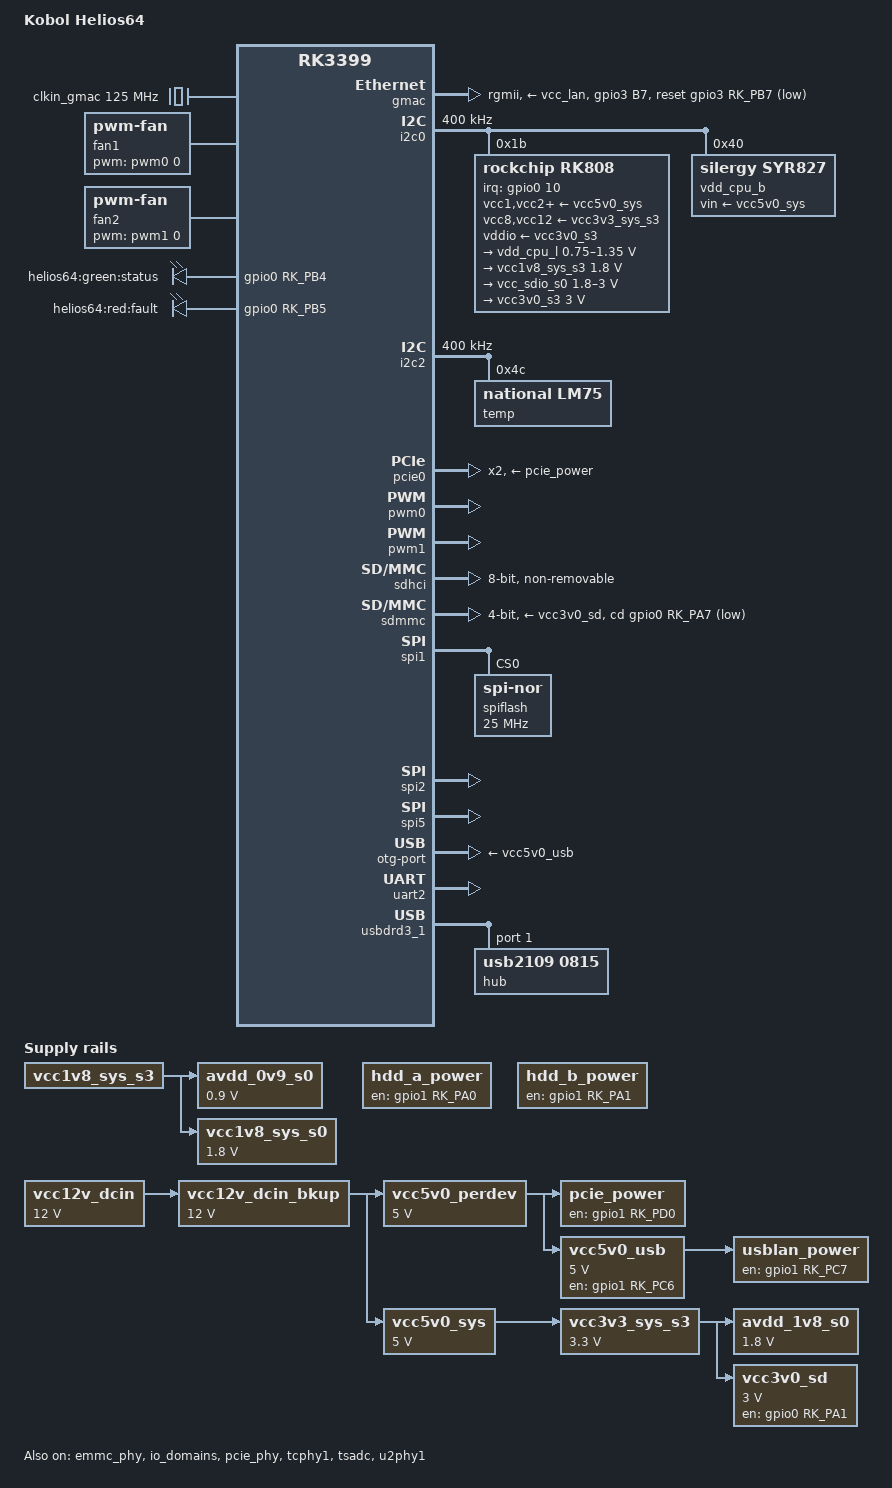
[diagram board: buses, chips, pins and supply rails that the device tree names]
// SPDX-License-Identifier: (GPL-2.0+ OR MIT)
/*
 * Copyright (c) 2020 Aditya Prayoga <aditya@kobol.io>
 */

/*
 * The Kobol Helios64 is a board designed to operate as a NAS and optionally
 * ships with an enclosing that can host five 2.5" hard disks.
 *
 * See https://wiki.kobol.io/helios64/intro/ for further details.
 */

/dts-v1/;
#include "rk3399.dtsi"
#include "rk3399-opp.dtsi"

/ {
	model = "Kobol Helios64";
	compatible = "kobol,helios64", "rockchip,rk3399";

	aliases {
		mmc0 = &sdmmc;
		mmc1 = &sdhci;
		spi1 = &spi1;
		spi2 = &spi2;
		spi5 = &spi5;
	};

	avdd_0v9_s0: avdd-0v9-s0 {
		compatible = "regulator-fixed";
		regulator-name = "avdd_0v9_s0";
		regulator-always-on;
		regulator-boot-on;
		regulator-min-microvolt = <900000>;
		regulator-max-microvolt = <900000>;
		vin-supply = <&vcc1v8_sys_s3>;
	};

	avdd_1v8_s0: avdd-1v8-s0 {
		compatible = "regulator-fixed";
		regulator-name = "avdd_1v8_s0";
		regulator-always-on;
		regulator-boot-on;
		regulator-min-microvolt = <1800000>;
		regulator-max-microvolt = <1800000>;
		vin-supply = <&vcc3v3_sys_s3>;
	};

	chosen {
		stdout-path = "serial2:1500000n8";
	};

	clkin_gmac: external-gmac-clock {
		compatible = "fixed-clock";
		clock-frequency = <125000000>;
		clock-output-names = "clkin_gmac";
		#clock-cells = <0>;
	};

	fan1 {
		/* fan connected to P7 */
		compatible = "pwm-fan";
		pwms = <&pwm0 0 40000 0>;
		cooling-levels = <0 80 170 255>;
	};

	fan2 {
		/* fan connected to P6 */
		compatible = "pwm-fan";
		pwms = <&pwm1 0 40000 0>;
		cooling-levels = <0 80 170 255>;
	};

	leds {
		compatible = "gpio-leds";
		pinctrl-names = "default";
		pinctrl-0 = <&sys_grn_led_on &sys_red_led_on>;

		led-0 {
			label = "helios64:green:status";
			gpios = <&gpio0 RK_PB4 GPIO_ACTIVE_HIGH>;
			default-state = "on";
		};

		led-1 {
			label = "helios64:red:fault";
			gpios = <&gpio0 RK_PB5 GPIO_ACTIVE_HIGH>;
			default-state = "keep";
		};
	};

	hdd_a_power: hdd-a-power {
		compatible = "regulator-fixed";
		enable-active-high;
		gpio = <&gpio1 RK_PA0 GPIO_ACTIVE_HIGH>;
		pinctrl-0 = <&hdd_a_power_en>;
		pinctrl-names = "default";
		regulator-always-on;
		regulator-boot-on;
		regulator-name = "hdd_a_power";
		startup-delay-us = <2000000>;
	};

	hdd_b_power: hdd-b-power {
		compatible = "regulator-fixed";
		enable-active-high;
		gpio = <&gpio1 RK_PA1 GPIO_ACTIVE_HIGH>;
		pinctrl-0 = <&hdd_b_power_en>;
		pinctrl-names = "default";
		regulator-always-on;
		regulator-boot-on;
		regulator-name = "hdd_b_power";
		startup-delay-us = <2000000>;
	};

	pcie_power: pcie-power {
		compatible = "regulator-fixed";
		enable-active-high;
		gpio = <&gpio1 RK_PD0 GPIO_ACTIVE_HIGH>;
		pinctrl-0 = <&pcie_pwr>;
		pinctrl-names = "default";
		regulator-boot-on;
		regulator-name = "pcie_power";
		startup-delay-us = <10000>;
		vin-supply = <&vcc5v0_perdev>;
	};

	usblan_power: usblan-power {
		compatible = "regulator-fixed";
		enable-active-high;
		gpio = <&gpio1 RK_PC7 GPIO_ACTIVE_HIGH>;
		pinctrl-names = "default";
		pinctrl-0 = <&usb_lan_en>;
		regulator-name = "usblan_power";
		regulator-always-on;
		regulator-boot-on;
		vin-supply = <&vcc5v0_usb>;
	};

	vcc1v8_sys_s0: vcc1v8-sys-s0 {
		compatible = "regulator-fixed";
		regulator-name = "vcc1v8_sys_s0";
		regulator-always-on;
		regulator-boot-on;
		regulator-min-microvolt = <1800000>;
		regulator-max-microvolt = <1800000>;
		vin-supply = <&vcc1v8_sys_s3>;
	};

	vcc3v0_sd: vcc3v0-sd {
		compatible = "regulator-fixed";
		enable-active-high;
		gpio = <&gpio0 RK_PA1 GPIO_ACTIVE_HIGH>;
		regulator-name = "vcc3v0_sd";
		regulator-boot-on;
		regulator-min-microvolt = <3000000>;
		regulator-max-microvolt = <3000000>;
		pinctrl-names = "default";
		pinctrl-0 = <&sdmmc0_pwr_h>;
		vin-supply = <&vcc3v3_sys_s3>;
	};

	vcc3v3_sys_s3: vcc_lan: vcc3v3-sys-s3 {
		compatible = "regulator-fixed";
		regulator-name = "vcc3v3_sys_s3";
		regulator-always-on;
		regulator-boot-on;
		regulator-min-microvolt = <3300000>;
		regulator-max-microvolt = <3300000>;
		vin-supply = <&vcc5v0_sys>;

		regulator-state-mem {
			regulator-on-in-suspend;
		};
	};

	vcc5v0_perdev: vcc5v0-perdev {
		compatible = "regulator-fixed";
		regulator-name = "vcc5v0_perdev";
		regulator-always-on;
		regulator-boot-on;
		regulator-min-microvolt = <5000000>;
		regulator-max-microvolt = <5000000>;
		vin-supply = <&vcc12v_dcin_bkup>;
	};

	vcc5v0_sys: vcc5v0-sys {
		compatible = "regulator-fixed";
		regulator-name = "vcc5v0_sys";
		regulator-always-on;
		regulator-boot-on;
		regulator-min-microvolt = <5000000>;
		regulator-max-microvolt = <5000000>;
		vin-supply = <&vcc12v_dcin_bkup>;

		regulator-state-mem {
			regulator-on-in-suspend;
		};
	};

	vcc5v0_usb: vcc5v0-usb {
		compatible = "regulator-fixed";
		enable-active-high;
		gpio = <&gpio1 RK_PC6 GPIO_ACTIVE_HIGH>;
		pinctrl-names = "default";
		pinctrl-0 = <&vcc5v0_usb_en>;
		regulator-name = "vcc5v0_usb";
		regulator-always-on;
		regulator-boot-on;
		regulator-min-microvolt = <5000000>;
		regulator-max-microvolt = <5000000>;
		vin-supply = <&vcc5v0_perdev>;
	};

	vcc12v_dcin: vcc12v-dcin {
		compatible = "regulator-fixed";
		regulator-name = "vcc12v_dcin";
		regulator-always-on;
		regulator-boot-on;
		regulator-min-microvolt = <12000000>;
		regulator-max-microvolt = <12000000>;
	};

	vcc12v_dcin_bkup: vcc12v-dcin-bkup {
		compatible = "regulator-fixed";
		regulator-name = "vcc12v_dcin_bkup";
		regulator-always-on;
		regulator-boot-on;
		regulator-min-microvolt = <12000000>;
		regulator-max-microvolt = <12000000>;
		vin-supply = <&vcc12v_dcin>;
	};
};

/*
 * The system doesn't run stable with cpu freq enabled, so disallow the lower
 * frequencies until this problem is properly understood and resolved.
 */
&cluster0_opp {
	/delete-node/ opp00;
	/delete-node/ opp01;
	/delete-node/ opp02;
	/delete-node/ opp03;
	/delete-node/ opp04;
};

&cluster1_opp {
	/delete-node/ opp00;
	/delete-node/ opp01;
	/delete-node/ opp02;
	/delete-node/ opp03;
	/delete-node/ opp04;
	/delete-node/ opp05;
	/delete-node/ opp06;
};

&cpu_b0 {
	cpu-supply = <&vdd_cpu_b>;
};

&cpu_b1 {
	cpu-supply = <&vdd_cpu_b>;
};

&cpu_l0 {
	cpu-supply = <&vdd_cpu_l>;
};

&cpu_l1 {
	cpu-supply = <&vdd_cpu_l>;
};

&cpu_l2 {
	cpu-supply = <&vdd_cpu_l>;
};

&cpu_l3 {
	cpu-supply = <&vdd_cpu_l>;
};

&emmc_phy {
	status = "okay";
};

&gmac {
	assigned-clock-parents = <&clkin_gmac>;
	assigned-clocks = <&cru SCLK_RMII_SRC>;
	clock_in_out = "input";
	phy-mode = "rgmii";
	phy-supply = <&vcc_lan>;
	pinctrl-names = "default";
	pinctrl-0 = <&rgmii_pins &gphy_reset>;
	rx_delay = <0x20>;
	tx_delay = <0x28>;
	snps,reset-active-low;
	snps,reset-delays-us = <0 10000 50000>;
	snps,reset-gpio = <&gpio3 RK_PB7 GPIO_ACTIVE_LOW>;
	status = "okay";
};

&i2c0 {
	clock-frequency = <400000>;
	i2c-scl-rising-time-ns = <168>;
	i2c-scl-falling-time-ns = <4>;
	status = "okay";

	rk808: pmic@1b {
		compatible = "rockchip,rk808";
		reg = <0x1b>;
		interrupt-parent = <&gpio0>;
		interrupts = <10 IRQ_TYPE_LEVEL_LOW>;
		clock-output-names = "xin32k", "rk808-clkout2";
		pinctrl-names = "default";
		pinctrl-0 = <&pmic_int_l>;
		rockchip,system-power-controller;
		vcc1-supply = <&vcc5v0_sys>;
		vcc2-supply = <&vcc5v0_sys>;
		vcc3-supply = <&vcc5v0_sys>;
		vcc4-supply = <&vcc5v0_sys>;
		vcc6-supply = <&vcc5v0_sys>;
		vcc7-supply = <&vcc5v0_sys>;
		vcc8-supply = <&vcc3v3_sys_s3>;
		vcc9-supply = <&vcc5v0_sys>;
		vcc10-supply = <&vcc5v0_sys>;
		vcc11-supply = <&vcc5v0_sys>;
		vcc12-supply = <&vcc3v3_sys_s3>;
		vddio-supply = <&vcc3v0_s3>;
		wakeup-source;
		#clock-cells = <1>;

		regulators {
			vdd_cpu_l: DCDC_REG2 {
				regulator-name = "vdd_cpu_l";
				regulator-always-on;
				regulator-boot-on;
				regulator-min-microvolt = <750000>;
				regulator-max-microvolt = <1350000>;
				regulator-ramp-delay = <6001>;

				regulator-state-mem {
					regulator-off-in-suspend;
				};
			};

			vcc1v8_sys_s3: DCDC_REG4 {
				regulator-name = "vcc1v8_sys_s3";
				regulator-always-on;
				regulator-boot-on;
				regulator-min-microvolt = <1800000>;
				regulator-max-microvolt = <1800000>;

				regulator-state-mem {
					regulator-on-in-suspend;
					regulator-suspend-microvolt = <1800000>;
				};
			};

			vcc_sdio_s0: LDO_REG4 {
				regulator-name = "vcc_sdio_s0";
				regulator-always-on;
				regulator-boot-on;
				regulator-min-microvolt = <1800000>;
				regulator-max-microvolt = <3000000>;

				regulator-state-mem {
					regulator-on-in-suspend;
					regulator-suspend-microvolt = <3000000>;
				};
			};

			vcc3v0_s3: LDO_REG8 {
				regulator-name = "vcc3v0_s3";
				regulator-always-on;
				regulator-boot-on;
				regulator-min-microvolt = <3000000>;
				regulator-max-microvolt = <3000000>;

				regulator-state-mem {
					regulator-on-in-suspend;
					regulator-suspend-microvolt = <3000000>;
				};
			};
		};
	};

	vdd_cpu_b: regulator@40 {
		compatible = "silergy,syr827";
		reg = <0x40>;
		fcs,suspend-voltage-selector = <1>;
		regulator-name = "vdd_cpu_b";
		regulator-always-on;
		regulator-boot-on;
		regulator-min-microvolt = <712500>;
		regulator-max-microvolt = <1500000>;
		regulator-ramp-delay = <1000>;
		vin-supply = <&vcc5v0_sys>;

		regulator-state-mem {
			regulator-off-in-suspend;
		};
	};
};

&i2c2 {
	clock-frequency = <400000>;
	i2c-scl-rising-time-ns = <160>;
	i2c-scl-falling-time-ns = <30>;
	status = "okay";

	temp@4c {
		compatible = "national,lm75";
		reg = <0x4c>;
	};
};

&io_domains {
	audio-supply = <&vcc1v8_sys_s0>;
	bt656-supply = <&vcc1v8_sys_s0>;
	gpio1830-supply = <&vcc3v0_s3>;
	sdmmc-supply = <&vcc_sdio_s0>;
	status = "okay";
};

&pcie_phy {
	status = "okay";
};

&pcie0 {
	ep-gpios = <&gpio2 RK_PD4 GPIO_ACTIVE_HIGH>;
	max-link-speed = <2>;
	num-lanes = <2>;
	pinctrl-names = "default";
	status = "okay";

	vpcie12v-supply = <&vcc12v_dcin>;
	vpcie3v3-supply = <&pcie_power>;
	vpcie1v8-supply = <&avdd_1v8_s0>;
	vpcie0v9-supply = <&avdd_0v9_s0>;
};

&pinctrl {
	gmac {
		gphy_reset: gphy-reset {
			rockchip,pins = <3 RK_PB7 RK_FUNC_GPIO &pcfg_output_low>;
		};
	};

	leds {
		sys_grn_led_on: sys-grn-led-on {
			rockchip,pins = <0 RK_PB4 RK_FUNC_GPIO &pcfg_pull_down>;
		};

		sys_red_led_on: sys-red-led-on {
			rockchip,pins = <0 RK_PB5 RK_FUNC_GPIO &pcfg_pull_down>;
		};
	};

	pcie {
		pcie_pwr: pcie-pwr {
			rockchip,pins =
				<1 RK_PD0 RK_FUNC_GPIO &pcfg_pull_none>;
		};
	};

	pmic {
		pmic_int_l: pmic-int-l {
			rockchip,pins = <0 RK_PB2 RK_FUNC_GPIO &pcfg_pull_none>;
		};
	};

	power {
		hdd_a_power_en: hdd-a-power-en {
			rockchip,pins = <1 RK_PA0 RK_FUNC_GPIO &pcfg_pull_none>;
		};

		hdd_b_power_en: hdd-b-power-en {
			rockchip,pins = <1 RK_PA1 RK_FUNC_GPIO &pcfg_pull_none>;
		};

		vcc5v0_usb_en: vcc5v0-usb-en {
			rockchip,pins = <1 RK_PC6 RK_FUNC_GPIO &pcfg_pull_none>;
		};

		usb_lan_en: usb-lan-en {
			rockchip,pins = <1 RK_PC7 RK_FUNC_GPIO &pcfg_pull_none>;
		};
	};

	vcc3v0-sd {
		sdmmc0_pwr_h: sdmmc0-pwr-h {
			rockchip,pins = <0 RK_PA1 RK_FUNC_GPIO &pcfg_pull_up>;
		};
	};
};

&pmu_io_domains {
	pmu1830-supply = <&vcc3v0_s3>;
	status = "okay";
};

&pwm0 {
	/* pwm-fan on P7 */
	status = "okay";
};

&pwm1 {
	/* pwm-fan on P6 */
	status = "okay";
};

&sdhci {
	bus-width = <8>;
	mmc-hs200-1_8v;
	non-removable;
	vqmmc-supply = <&vcc1v8_sys_s0>;
	status = "okay";
};

&sdmmc {
	bus-width = <4>;
	cap-sd-highspeed;
	cd-gpios = <&gpio0 RK_PA7 GPIO_ACTIVE_LOW>;
	disable-wp;
	pinctrl-names = "default";
	pinctrl-0 = <&sdmmc_clk &sdmmc_cmd &sdmmc_cd &sdmmc_bus4>;
	vmmc-supply = <&vcc3v0_sd>;
	vqmmc-supply = <&vcc_sdio_s0>;
	status = "okay";
};

&spi1 {
	status = "okay";

	spiflash: flash@0 {
		compatible = "jedec,spi-nor";
		reg = <0x0>;
		spi-max-frequency = <25000000>;
		status = "okay";
		m25p,fast-read;
	};
};

/* UEXT connector */
&spi2 {
	status = "okay";
};

&spi5 {
	status = "okay";
};

&tcphy1 {
	/* phy for &usbdrd_dwc3_1 */
	status = "okay";
};

&tsadc {
	/* tshut mode 0:CRU 1:GPIO */
	rockchip,hw-tshut-mode = <1>;
	/* tshut polarity 0:LOW 1:HIGH */
	rockchip,hw-tshut-polarity = <1>;
	status = "okay";
};

&u2phy1 {
	status = "okay";

	otg-port {
		/* phy for &usbdrd_dwc3_1 */
		phy-supply = <&vcc5v0_usb>;
		status = "okay";
	};
};

&uart2 {
	status = "okay";
};

&usbdrd3_1 {
	status = "okay";

	usb@fe900000 {
		dr_mode = "host";
		status = "okay";
		#address-cells = <1>;
		#size-cells = <0>;

		hub@1 {
			compatible = "usb2109,0815";
			reg = <1>;
			#address-cells = <1>;
			#size-cells = <0>;

			port@1 {
				reg = <1>;
				#trigger-source-cells = <0>;
			};

			port@2 {
				reg = <2>;
				#trigger-source-cells = <0>;
			};

			port@3 {
				reg = <3>;
				#trigger-source-cells = <0>;
			};

			device@4 {
				compatible = "usbbda,8156";
				reg = <4>;
				#address-cells = <2>;
				#size-cells = <0>;

				interface@0 {	/* interface 0 of configuration 1 */
					compatible = "usbbda,8156.config1.0";
					reg = <0 1>;
				};
			};
		};
	};
};
